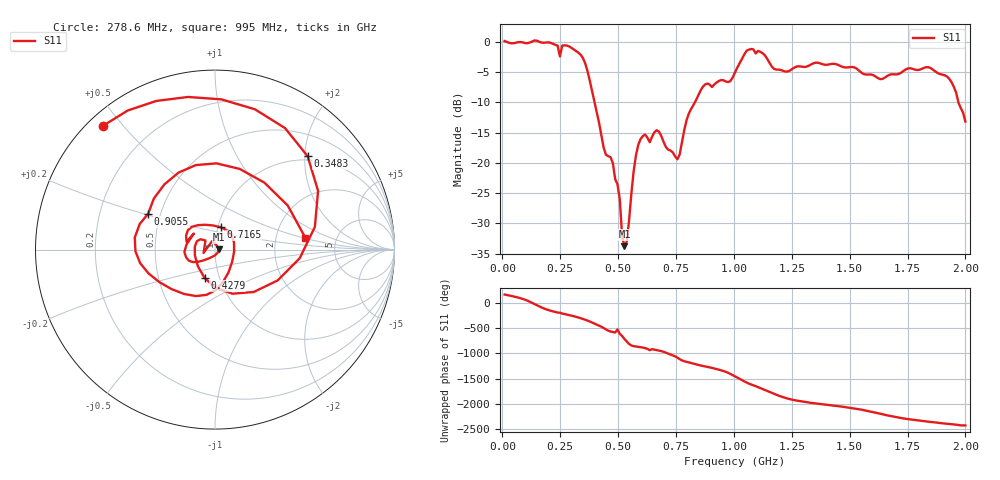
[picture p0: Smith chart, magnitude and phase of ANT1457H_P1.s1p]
!Created with skrf (http://scikit-rf.org).
# Hz S RI R 50.0
!freq ReS11 ImS11
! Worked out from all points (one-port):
!   201 points, 10 MHz to 2 GHz, reference 50 ohm
!   lowest |S11| = -33.8 dB at 527.4 MHz (marker M1), VSWR 1.04, Z = 52.1 + j0.268 ohm
!   |S11| at or under -10 dB: 398.7 MHz to 831.8 MHz (433.1 MHz wide, 70.4 % of centre); 1.97 GHz to end of sweep
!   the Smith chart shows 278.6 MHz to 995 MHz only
!   S11 on the Smith chart (normalised r, x): 278.6 MHz: 0.04, +0.44; 348.3 MHz: 0.91, +2.06; 427.9 MHz: 0.85, -0.28; 716.5 MHz: 1.03, +0.26; 905.5 MHz: 0.43, +0.21; 995 MHz: 2.96, +0.53
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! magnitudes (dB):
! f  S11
! 10 MHz  0.1
! 209 MHz  -0.2
! 248.8 MHz  -2.4
! 258.8 MHz  -0.6
! 278.6 MHz  -0.6
! 348.3 MHz  -2.7
! 427.9 MHz  -15.5
! 477.6 MHz  -20.1
! 507.5 MHz  -26.0
! 517.5 MHz  -32.1
! 527.4 MHz  -33.8
! 537.4 MHz  -33.0
! 577.1 MHz  -18.8
! 597 MHz  -16.1
! 666.7 MHz  -14.6
! 716.5 MHz  -17.8
! 756.2 MHz  -19.4
! 806 MHz  -11.8
! 905.5 MHz  -7.5
! 995 MHz  -5.9
! 1.005 GHz  -5.1
! 1.075 GHz  -1.2
! 1.254 GHz  -4.4
! 1.502 GHz  -4.2
! 1.632 GHz  -6.2
! 1.751 GHz  -4.4
! 1.92 GHz  -5.7
! 2 GHz  -13.2
